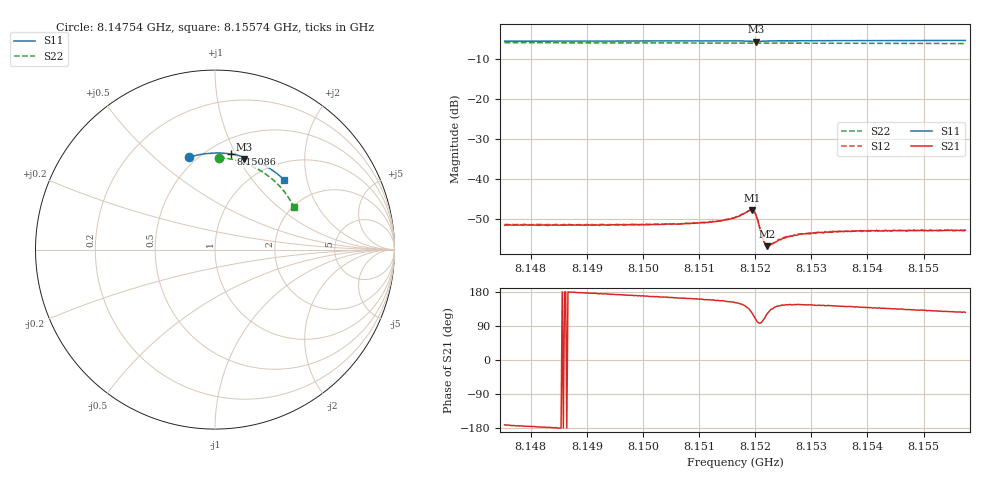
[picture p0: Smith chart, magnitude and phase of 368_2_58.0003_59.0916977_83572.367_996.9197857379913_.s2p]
#  HZ  S  RI  R  50.00
! Rohde & Schwarz Vector Network Analyzer
! Rohde-Schwarz,ZNB20-2Port,1311601062101988,3.16
! Created: UTC 3/21/2024, 1:06:48 AM
! freq[Hz]  re:S11  im:S11  re:S21  im:S21  re:S12  im:S12  re:S22  im:S22
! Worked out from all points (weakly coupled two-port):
!   401 points, 8.14754 GHz to 8.15574 GHz, reference 50 ohm
!   highest |S21| = -47.88 dB at 8.15195 GHz (marker M1); lowest = -56.9 dB at 8.15221 GHz (marker M2)
!   lowest |S11| = -5.5 dB at 8.15201 GHz (marker M3), VSWR 3.25, Z = 37.5 + j52.6 ohm
!   |S11| at or under -10 dB: nowhere
!   |S22| runs from -6.0 to -5.8 dB; largest |S21 - S12| = 0.00012
!   S11 on the Smith chart (normalised r, x): 8.14754 GHz: 0.45, +0.66; 8.15086 GHz: 0.63, +0.95; 8.15574 GHz: 1.32, +1.47
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8.147537e9  -0.1424 0.5152  -0.00258 -0.000408  -0.00267 -0.000336  0.0245 0.5122
8.148912e9  -0.0485 0.535  -0.00263 0.000125  -0.00267 0.000171  0.1128 0.4987
8.150286e9  0.0472 0.5373  -0.00261 0.000613  -0.0026 0.000658  0.1966 0.4698
8.150861e9  0.0871 0.5333  -0.00263 0.000846  -0.00266 0.0009  0.2296 0.4535
8.151353e9  0.1216 0.527  -0.00269 0.00118  -0.00272 0.0012  0.2569 0.4378
8.15164e9  0.1422 0.5214  -0.00285 0.00156  -0.00286 0.00161  0.2724 0.4278
8.151887e9  0.1597 0.5114  -0.0028 0.00278  -0.00276 0.00287  0.2853 0.4187
8.151948e9  0.1616 0.5072  -0.00219 0.00339  -0.00218 0.00345  0.2882 0.4164
8.151989e9  0.1611 0.5051  -0.00146 0.0035  -0.00141 0.00354  0.2902 0.4149
8.15201e9  0.1604 0.5048  -0.00107 0.0034  -0.00103 0.00343  0.2911 0.4141
8.152051e9  0.1598 0.5061  -0.000468 0.00288  -0.000447 0.00292  0.2933 0.4126
8.152133e9  0.1637 0.5098  -0.00041 0.00175  -0.000344 0.00174  0.2974 0.4098
8.152174e9  0.1671 0.5106  -0.000579 0.00143  -0.00056 0.00143  0.2994 0.4082
8.152215e9  0.1704 0.5109  -0.00076 0.00121  -0.00073 0.00125  0.3016 0.4067
8.152256e9  0.174 0.5108  -0.000933 0.00114  -0.000942 0.00114  0.3036 0.405
8.152543e9  0.1953 0.5056  -0.00151 0.00102  -0.00153 0.00109  0.3179 0.3935
8.15281e9  0.2134 0.4991  -0.00168 0.00113  -0.00168 0.00114  0.3306 0.3823
8.153015e9  0.2268 0.4939  -0.00171 0.00119  -0.00173 0.0012  0.3402 0.3734
8.153384e9  0.2503 0.483  -0.00171 0.00129  -0.00172 0.00137  0.3565 0.3569
8.153836e9  0.2781 0.4683  -0.00169 0.00144  -0.0017 0.00144  0.3754 0.3357
8.15439e9  0.3107 0.4484  -0.00161 0.00156  -0.00159 0.00156  0.3969 0.3085
8.155744e9  0.3835 0.3903  -0.00132 0.00183  -0.00129 0.00185  0.4408 0.2366
